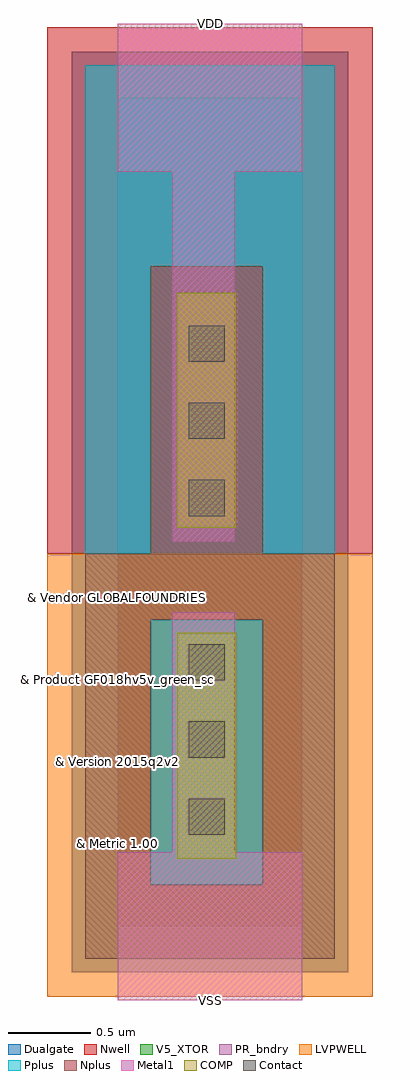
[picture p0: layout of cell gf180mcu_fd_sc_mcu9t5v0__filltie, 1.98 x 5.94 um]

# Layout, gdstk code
import gdstk
lib = gdstk.Library(unit=1e-6, precision=1e-09)
def R(c, l, rs):  # rectangles x0, y0, x1, y1
    for r in rs: c.add(gdstk.rectangle(r[:2], r[2:], *l))
def A(c, l, x, y, w, h, nx, ny, dx, dy):  # array of equal rectangles
    R(c, l, [(x+i*dx, y+j*dy, x+i*dx+w, y+j*dy+h) for i in range(nx) for j in range(ny)])
def P(c, l, *ps):  # polygons
    for p in ps: c.add(gdstk.Polygon(p, *l))
PR_bndry = (0, 0)
Nwell = (21, 0)
COMP = (22, 0)
Pplus = (31, 0)
Nplus = (32, 0)
Contact = (33, 0)
Metal1 = (34, 0)
Dualgate = (55, 0)
V5_XTOR = (112, 1)
LVPWELL = (204, 0)

gf180mcu_fd_sc_mcu9t5v0_ = lib.new_cell('gf180mcu_fd_sc_mcu9t5v0__filltie')
R(gf180mcu_fd_sc_mcu9t5v0_, PR_bndry, [(0,0,1.12,5.04)])
R(gf180mcu_fd_sc_mcu9t5v0_, Nwell, [(-0.43,2.265,1.55,5.47)])
R(gf180mcu_fd_sc_mcu9t5v0_, COMP, [(0.36,0.41,0.72,1.785), (0.36,2.425,0.72,3.855)])
R(gf180mcu_fd_sc_mcu9t5v0_, Pplus, [(0.2,0.25,0.88,1.865)])
P(gf180mcu_fd_sc_mcu9t5v0_, Pplus, [(-0.2,2.265),(-0.2,5.24),(1.32,5.24),(1.32,2.265),(0.88,2.265),(0.88,4.015),(0.2,4.015),(0.2,2.265)])
P(gf180mcu_fd_sc_mcu9t5v0_, Nplus, [(-0.2,-0.2),(-0.2,2.265),(0.2,2.265),(0.2,4.015),(0.88,4.015),(0.88,1.865),(0.2,1.865),(0.2,0.25),(0.88,0.25),(0.88,4.015),(0.88,2.265),(1.32,2.265),(1.32,-0.2)])
A(gf180mcu_fd_sc_mcu9t5v0_, Contact, 0.43, 0.555, 0.22, 0.22, 1, 3, 0, 0.47)
A(gf180mcu_fd_sc_mcu9t5v0_, Contact, 0.43, 2.495, 0.22, 0.22, 1, 3, 0, 0.47)
P(gf180mcu_fd_sc_mcu9t5v0_, Metal1, [(0,-0.45),(0,0.45),(0.33,0.45),(0.33,1.91),(0.71,1.91),(0.71,0.45),(1.12,0.45),(1.12,-0.45)],
  [(0.33,2.34),(0.33,4.59),(0,4.59),(0,5.49),(1.12,5.49),(1.12,4.59),(0.71,4.59),(0.71,2.34)])
R(gf180mcu_fd_sc_mcu9t5v0_, Dualgate, [(-0.28,-0.28,1.4,5.32)])
R(gf180mcu_fd_sc_mcu9t5v0_, V5_XTOR, [(0,0,1.12,5.04)])
R(gf180mcu_fd_sc_mcu9t5v0_, LVPWELL, [(-0.43,-0.43,1.55,2.265)])
gf180mcu_fd_sc_mcu9t5v0_.add(gdstk.Label('VSS', (0.56,-0.45), layer=34, texttype=10))
gf180mcu_fd_sc_mcu9t5v0_.add(gdstk.Label('VDD', (0.56,5.49), layer=34, texttype=10))
gf180mcu_fd_sc_mcu9t5v0_.add(gdstk.Label('& Vendor GLOBALFOUNDRIES', (0,2), layer=63, texttype=63))
gf180mcu_fd_sc_mcu9t5v0_.add(gdstk.Label('& Product GF018hv5v_green_sc9', (0,1.5), layer=63, texttype=63))
gf180mcu_fd_sc_mcu9t5v0_.add(gdstk.Label('& Version 2015q2v2', (0,1), layer=63, texttype=63))
gf180mcu_fd_sc_mcu9t5v0_.add(gdstk.Label('& Metric 1.00', (0,0.5), layer=63, texttype=63))

lib.write_gds('gf180mcu_fd_sc_mcu9t5v0__filltie.gds')
